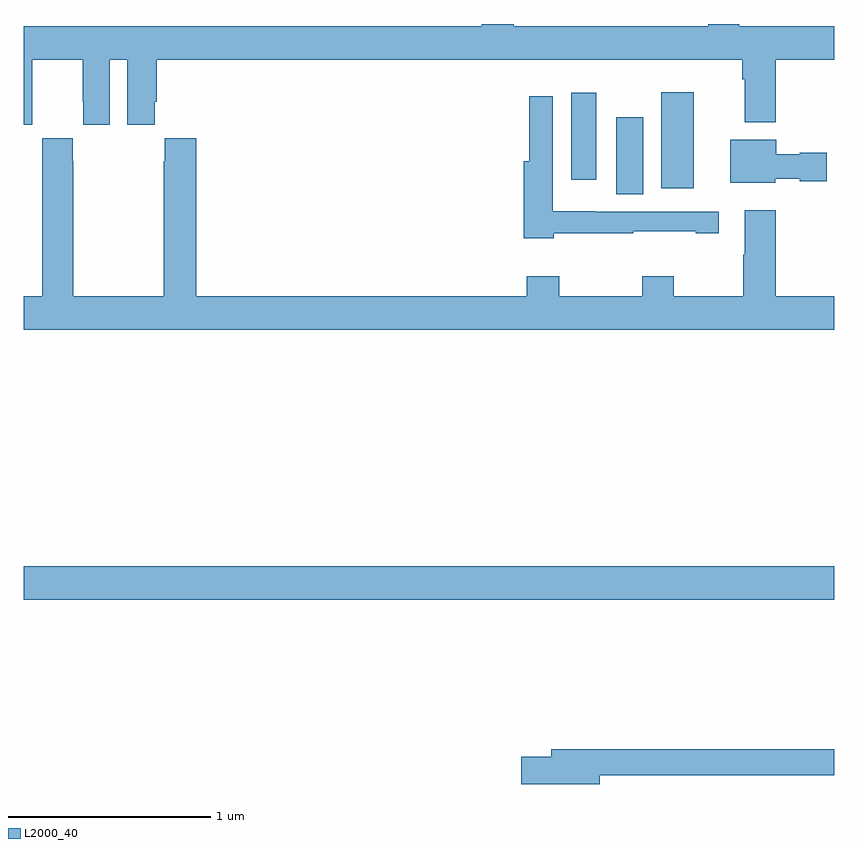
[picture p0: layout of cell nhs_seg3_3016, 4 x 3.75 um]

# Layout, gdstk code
import gdstk
lib = gdstk.Library(unit=1e-6, precision=1e-09)
def R(c, l, rs):  # rectangles x0, y0, x1, y1
    for r in rs: c.add(gdstk.rectangle(r[:2], r[2:], *l))
def P(c, l, *ps):  # polygons
    for p in ps: c.add(gdstk.Polygon(p, *l))
L2000_40 = (2000, 40)

nhs_seg3_3016 = lib.new_cell('nhs_seg3_3016')
R(nhs_seg3_3016, L2000_40, [(267,723.56,271,723.724), (269.924,725.56,270.058,725.941), (270.146,725.589,270.307,726.064), (269.702,725.631,269.824,726.061)])
P(nhs_seg3_3016, L2000_40, [(267.042,726.016),(267.043,726.016),(267.043,726.224),(267.293,726.224),(267.293,726.016),(267.294,726.016),(267.294,725.904),(267.424,725.904),(267.424,726.224),(267.512,726.224),(267.512,725.904),(267.646,725.904),(267.646,726.016),(267.656,726.016),(267.656,726.224),(270.545,726.224),(270.545,726.128),(270.557,726.128),(270.557,725.915),(270.71,725.915),(270.71,726.224),(271,726.224),(271,726.388),(270.53,726.388),(270.53,726.4),(270.377,726.4),(270.377,726.388),(269.417,726.388),(269.417,726.4),(269.261,726.4),(269.261,726.388),(267,726.388),(267,725.904),(267.042,725.904)],
  [(269.615,725.367),(270.008,725.367),(270.008,725.377),(270.317,725.377),(270.317,725.367),(270.43,725.367),(270.43,725.475),(269.82,725.475),(269.82,725.476),(269.61,725.476),(269.61,726.043),(269.494,726.043),(269.494,725.722),(269.468,725.722),(269.468,725.342),(269.615,725.342)],
  [(271,725.056),(270.71,725.056),(270.71,725.482),(270.557,725.482),(270.557,725.261),(270.55,725.261),(270.55,725.056),(270.207,725.056),(270.207,725.155),(270.052,725.155),(270.052,725.056),(269.643,725.056),(269.643,725.155),(269.483,725.155),(269.483,725.056),(267.851,725.056),(267.851,725.836),(267.697,725.836),(267.697,725.723),(267.691,725.723),(267.691,725.056),(267.246,725.056),(267.246,725.723),(267.243,725.723),(267.243,725.836),(267.093,725.836),(267.093,725.723),(267.091,725.723),(267.091,725.056),(267,725.056),(267,724.892),(271,724.892)],
  [(270.708,725.636),(270.828,725.636),(270.828,725.624),(270.961,725.624),(270.961,725.766),(270.828,725.766),(270.828,725.758),(270.712,725.758),(270.712,725.83),(270.485,725.83),(270.485,725.618),(270.708,725.618)],
  [(269.842,722.694),(271,722.694),(271,722.822),(269.603,722.822),(269.603,722.786),(269.454,722.786),(269.454,722.651),(269.842,722.651)])

lib.write_gds('nhs_seg3_3016.gds')
